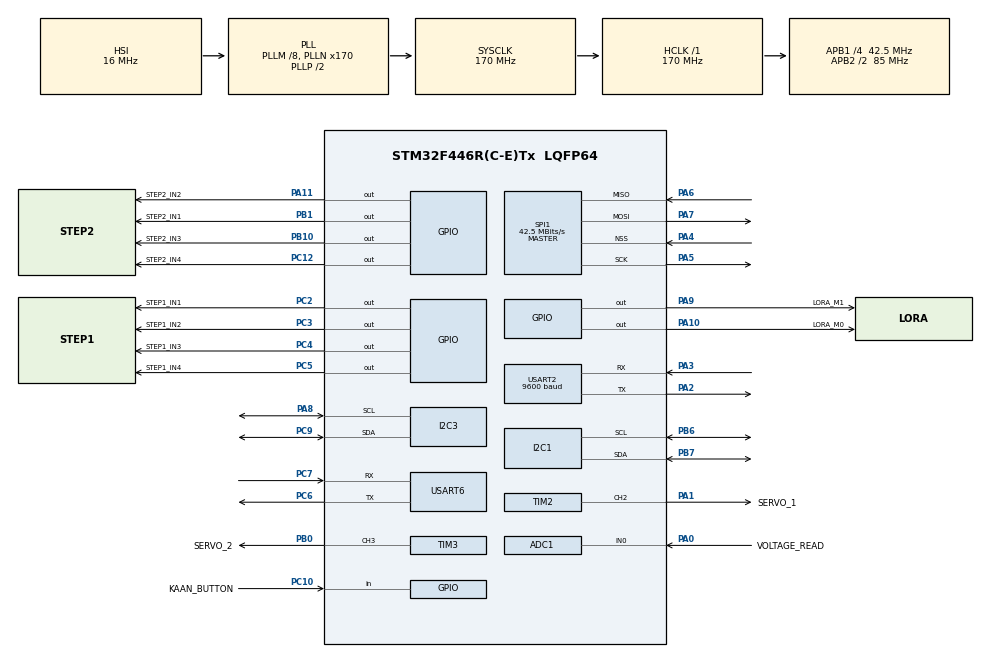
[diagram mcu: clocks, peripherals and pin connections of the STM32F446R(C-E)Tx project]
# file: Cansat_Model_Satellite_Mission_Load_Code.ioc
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ADC1.Channel-0\#ChannelRegularConversion=ADC_CHANNEL_0
ADC1.NbrOfConversionFlag=1
ADC1.Rank-0\#ChannelRegularConversion=1
ADC1.SamplingTime-0\#ChannelRegularConversion=ADC_SAMPLETIME_3CYCLES
ADC1.master=1
FREERTOS.Events01=systemEvents,Dynamic,NULL
FREERTOS.Mutexes01=sensorProcessMutex,Dynamic,NULL,Available;loraCommunicationMutex,Dynamic,NULL,Available
FREERTOS.Queues01=uart2incomingbuffer,16,uint16_t,0,Dynamic,NULL,NULL;uart2outcomequeue,16,uint16_t,0,Dynamic,NULL,NULL;gpsBufferQueue,3,uint16_t,0,Dynamic,NULL,NULL
FREERTOS.Tasks01=startingTask,24,128,StartDefaultTask,Default,NULL,Dynamic,NULL,NULL;bmpProcessTask,13,256,BMPProcessTaskCallback,Default,NULL,Dynamic,NULL,NULL;mpuProcessTask,14,256,MPUProcessTaskCallback,Default,NULL,Dynamic,NULL,NULL;sdWriteTask,21,256,SDWriteTaskCallback,Default,NULL,Dynamic,NULL,NULL;servoTask,24,128,ServoTaskCallback,Default,NULL,Dynamic,NULL,NULL;telecommandTask,40,256,TelecommandTask,Default,NULL,Dynamic,NULL,NULL;loraTask,46,256,LoraTaskCallback,Default,NULL,Dynamic,NULL,NULL;gpsProcess,8,256,GPSProcessCallback,Default,NULL,Dynamic,NULL,NULL;loraParse,44,256,LoraParseCallback,Default,NULL,Dynamic,NULL,NULL
FREERTOS.Timers01=loraWriteTimer,LoraWriteTimerCallBack,osTimerPeriodic,Default,NULL,Dynamic,NULL;velocityCalcTimer,VelocityCalculateTimerCallback,osTimerPeriodic,Default,NULL,Dynamic,NULL;seperationTimer,SeperationTimerCallback,osTimerOnce,Default,NULL,Dynamic,NULL
FREERTOS.configTIMER_TASK_PRIORITY=6
Mcu.Family=STM32F4
Mcu.Name=STM32F446R(C-E)Tx
Mcu.Package=LQFP64
NVIC.PriorityGroup=NVIC_PRIORITYGROUP_4
NVIC.TIM1_UP_TIM10_IRQn=true\:15\:0\:false\:false\:true\:false\:false\:true\:true
NVIC.TIM7_IRQn=true\:5\:0\:false\:false\:true\:true\:true\:true\:true
NVIC.TimeBase=TIM1_UP_TIM10_IRQn
NVIC.TimeBaseIP=TIM1
NVIC.USART2_IRQn=true\:5\:0\:false\:false\:true\:true\:true\:true\:true
PA0-WKUP.GPIO_Label=VOLTAGE_READ
PA0-WKUP.Signal=ADCx_IN0
PA1.GPIO_Label=SERVO_1
PA1.GPIO_PuPd=GPIO_PULLDOWN
PA1.Signal=S_TIM2_CH2
PA10.GPIO_Label=LORA_M0
PA10.GPIO_ModeDefaultOutputPP=GPIO_MODE_OUTPUT_PP
PA10.GPIO_PuPd=GPIO_PULLDOWN
PA10.GPIO_Speed=GPIO_SPEED_FREQ_MEDIUM
PA10.Signal=GPIO_Output
PA11.GPIO_Label=STEP2_IN2
PA11.Signal=GPIO_Output
PA13.Mode=Serial_Wire
PA13.Signal=SYS_JTMS-SWDIO
PA14.Mode=Serial_Wire
PA14.Signal=SYS_JTCK-SWCLK
PA2.GPIO_PuPd=GPIO_NOPULL
PA2.Mode=Asynchronous
PA2.Signal=USART2_TX
PA3.GPIO_PuPd=GPIO_NOPULL
PA3.Mode=Asynchronous
PA3.Signal=USART2_RX
PA4.Mode=NSS_Signal_Hard_Input
PA4.Signal=SPI1_NSS
PA5.Mode=Full_Duplex_Master
PA5.Signal=SPI1_SCK
PA6.Mode=Full_Duplex_Master
PA6.Signal=SPI1_MISO
PA7.Mode=Full_Duplex_Master
PA7.Signal=SPI1_MOSI
PA8.Mode=I2C
PA8.Signal=I2C3_SCL
PA9.GPIO_Label=LORA_M1
PA9.GPIO_PuPd=GPIO_PULLDOWN
PA9.GPIO_Speed=GPIO_SPEED_FREQ_MEDIUM
PA9.Signal=GPIO_Output
PB0.GPIO_Label=SERVO_2
PB0.GPIO_PuPd=GPIO_PULLDOWN
PB0.Signal=S_TIM3_CH3
PB1.GPIO_Label=STEP2_IN1
PB1.Signal=GPIO_Output
PB10.GPIO_Label=STEP2_IN3
PB10.Signal=GPIO_Output
PB6.Mode=I2C
PB6.Signal=I2C1_SCL
PB7.Mode=I2C
PB7.Signal=I2C1_SDA
PC10.GPIO_Label=KAAN_BUTTON
PC10.GPIO_PuPd=GPIO_PULLUP
PC10.Signal=GPIO_Input
PC12.GPIO_Label=STEP2_IN4
PC12.Signal=GPIO_Output
PC2.GPIO_Label=STEP1_IN1
PC2.Signal=GPIO_Output
PC3.GPIO_Label=STEP1_IN2
PC3.Signal=GPIO_Output
PC4.GPIO_Label=STEP1_IN3
PC4.Signal=GPIO_Output
PC5.GPIO_Label=STEP1_IN4
PC5.Signal=GPIO_Output
PC6.Mode=Asynchronous
PC6.Signal=USART6_TX
PC7.Mode=Asynchronous
PC7.Signal=USART6_RX
PC9.Mode=I2C
PC9.Signal=I2C3_SDA
ProjectManager.HeapSize=0x200
ProjectManager.StackSize=0x400
ProjectManager.TargetToolchain=STM32CubeIDE
RCC.AHBFreq_Value=170000000
RCC.APB1CLKDivider=RCC_HCLK_DIV4
RCC.APB1Freq_Value=42500000
RCC.APB1TimFreq_Value=85000000
RCC.APB2CLKDivider=RCC_HCLK_DIV2
RCC.APB2Freq_Value=85000000
RCC.APB2TimFreq_Value=170000000
RCC.CortexFreq_Value=170000000
RCC.HCLKFreq_Value=170000000
RCC.PLLM=8
RCC.PLLN=170
RCC.SYSCLKFreq_VALUE=170000000
RCC.SYSCLKSource=RCC_SYSCLKSOURCE_PLLCLK
RCC.USBFreq_Value=170000000
RCC.VCOOutputFreq_Value=340000000
SH.ADCx_IN0.0=ADC1_IN0,IN0
SH.S_TIM2_CH2.0=TIM2_CH2,PWM Generation2 CH2
SH.S_TIM3_CH3.0=TIM3_CH3,PWM Generation3 CH3
SPI1.CalculateBaudRate=42.5 MBits/s
SPI1.Direction=SPI_DIRECTION_2LINES
SPI1.Mode=SPI_MODE_MASTER
SPI1.VirtualNSS=VM_NSSHARD
SPI1.VirtualType=VM_MASTER
TIM2.Channel-PWM\ Generation2\ CH2=TIM_CHANNEL_2
TIM2.Period=20000 - 1
TIM2.Prescaler=85 - 1
TIM3.Channel-PWM\ Generation3\ CH3=TIM_CHANNEL_3
TIM3.Period=2000 - 1
TIM3.Prescaler=85 - 1
TIM6.Period=1000 - 1
TIM6.Prescaler=180 - 1
TIM6.TIM_MasterOutputTrigger=TIM_TRGO_RESET
TIM7.Period=1000 - 1
TIM7.Prescaler=170 - 1
TIM7.TIM_MasterOutputTrigger=TIM_TRGO_UPDATE
USART2.BaudRate=9600
USART2.VirtualMode=VM_ASYNC
USART6.VirtualMode=VM_ASYNC
VP_FREERTOS_VS_CMSIS_V2.Mode=CMSIS_V2
VP_SYS_VS_tim1.Mode=TIM1
VP_TIM2_VS_ClockSourceINT.Mode=Internal
VP_TIM3_VS_ClockSourceINT.Mode=Internal
VP_TIM6_VS_ClockSourceINT.Mode=Enable_Timer
VP_TIM7_VS_ClockSourceINT.Mode=Enable_Timer
board=custom

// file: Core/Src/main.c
/* USER CODE BEGIN Header */
/**
  ******************************************************************************
  * @file           : main.c
  * @brief          : Main program body
  ******************************************************************************
  * @attention
  *
  * Copyright (c) 2025 STMicroelectronics.
  * All rights reserved.
  *
  * This software is licensed under terms that can be found in the LICENSE file
  * in the root directory of this software component.
  * If no LICENSE file comes with this software, it is provided AS-IS.
  *
  ******************************************************************************
  */
/* USER CODE END Header */
#include "main.h"
#include "cmsis_os.h"

/* USER CODE BEGIN Includes */

#include "../Library/Pressure/bmp280.h"
#include "../Library/Acceleration/mpu6050.h"
#include "../Library/GPS/gps.h"
#include "../Library/Communication/lora_e22.h"
#include "../Library/Communication/telemetry_packet.h"
#include "../Library/Servo/servo.h"
#include "../Library/TeleCommand/telecommand.h"
#include "../Library/Utility/utiltity.h"

/* USER CODE END Includes */

/* USER CODE BEGIN PD */

/*
 *  Event Group Flags
 */
#define EVENT_FLAG_LORA_WRITE_READY    			(1 << 0U)
#define EVENT_FLAG_LORA_READ_READY     			(1 << 1U)
#define EVENT_FLAG_GPS_DATA_PROCECSS_READY      (1 << 2U)
#define EVENT_FLAG_TELECOMMAND_READY         	(1 << 3U)
#define EVENT_FLAG_TELECOMMAND_FINISHED       	(1 << 4U)

#define EVENT_FLAG_SERVO_PROCESS_READY        	(1 << 5U)
#define EVENT_FLAG_SENSOR_PROCESS_READY      	(1 << 6U)
#define EVENT_FLAG_SD_WRITE_READY         		(1 << 7U)
#define EVENT_FLAG_CALIBRATION_DONE             (1 << 8U)
#define EVENT_FLAG_SEPERATION_STARTED         	(1 << 9U)
#define EVENT_FLAG_SEPERATION_COMPLETED        	(1 << 10U)
#define EVENT_FLAG_FIRST_SEPERATION				(1 << 11U)

#define EVENT_FLAG_ALL_READY              		(0xFFFFFFFF)
#define EVENT_FLAG_NONE               			(0x00000000)
#define EVENT_FLAG_ERROR              			(1 << 31U)
#define EVENT_FLAG_TIMEOUT            			(1 << 30U)

/* USER CODE END PD */

ADC_HandleTypeDef hadc1;

I2C_HandleTypeDef hi2c1;
I2C_HandleTypeDef hi2c3;

SPI_HandleTypeDef hspi1;

TIM_HandleTypeDef htim2;
TIM_HandleTypeDef htim3;
TIM_HandleTypeDef htim6;
TIM_HandleTypeDef htim7;

UART_HandleTypeDef huart2;
UART_HandleTypeDef huart6;

/* Definitions for startingTask */
osThreadId_t startingTaskHandle;
const osThreadAttr_t startingTask_attributes = {
  .name = "startingTask",
  .stack_size = 128 * 4,
  .priority = (osPriority_t) osPriorityNormal,
};
/* Definitions for bmpProcessTask */
osThreadId_t bmpProcessTaskHandle;
const osThreadAttr_t bmpProcessTask_attributes = {
  .name = "bmpProcessTask",
  .stack_size = 256 * 4,
  .priority = (osPriority_t) osPriorityLow5,
};
/* Definitions for mpuProcessTask */
osThreadId_t mpuProcessTaskHandle;
const osThreadAttr_t mpuProcessTask_attributes = {
  .name = "mpuProcessTask",
  .stack_size = 256 * 4,
  .priority = (osPriority_t) osPriorityLow6,
};
/* Definitions for sdWriteTask */
osThreadId_t sdWriteTaskHandle;
const osThreadAttr_t sdWriteTask_attributes = {
  .name = "sdWriteTask",
  .stack_size = 256 * 4,
  .priority = (osPriority_t) osPriorityBelowNormal5,
};
/* Definitions for servoTask */
osThreadId_t servoTaskHandle;
const osThreadAttr_t servoTask_attributes = {
  .name = "servoTask",
  .stack_size = 128 * 4,
  .priority = (osPriority_t) osPriorityNormal,
};
/* Definitions for telecommandTask */
osThreadId_t telecommandTaskHandle;
const osThreadAttr_t telecommandTask_attributes = {
  .name = "telecommandTask",
  .stack_size = 512 * 4,
  .priority = (osPriority_t) osPriorityHigh,
};
/* Definitions for loraTask */
osThreadId_t loraTaskHandle;
const osThreadAttr_t loraTask_attributes = {
  .name = "loraTask",
  .stack_size = 512 * 4,
  .priority = (osPriority_t) osPriorityHigh6,
};
/* Definitions for gpsProcess */
osThreadId_t gpsProcessHandle;
const osThreadAttr_t gpsProcess_attributes = {
  .name = "gpsProcess",
  .stack_size = 256 * 4,
  .priority = (osPriority_t) osPriorityLow,
};
/* Definitions for seperationState */
osThreadId_t seperationStateHandle;
const osThreadAttr_t seperationState_attributes = {
  .name = "seperationState",
  .stack_size = 256 * 4,
  .priority = (osPriority_t) osPriorityHigh6,
};
/* Definitions for loraParse */
osThreadId_t loraParseHandle;
const osThreadAttr_t loraParse_attributes = {
  .name = "loraParse",
  .stack_size = 512 * 4,
  .priority = (osPriority_t) osPriorityHigh4,
};
/* Definitions for telecommandqueue */
osMessageQueueId_t telecommandqueueHandle;
const osMessageQueueAttr_t telecommandqueue_attributes = {
  .name = "telecommandqueue"
};
/* Definitions for uart2incomingbuffer */
osMessageQueueId_t uart2incomingbufferHandle;
const osMessageQueueAttr_t uart2incomingbuffer_attributes = {
  .name = "uart2incomingbuffer"
};
/* Definitions for uart2outcomequeue */
osMessageQueueId_t uart2outcomequeueHandle;
const osMessageQueueAttr_t uart2outcomequeue_attributes = {
  .name = "uart2outcomequeue"
};
/* Definitions for gpsBufferQueue */
osMessageQueueId_t gpsBufferQueueHandle;
const osMessageQueueAttr_t gpsBufferQueue_attributes = {
  .name = "gpsBufferQueue"
};
/* Definitions for loraWriteTimer */
osTimerId_t loraWriteTimerHandle;
const osTimerAttr_t loraWriteTimer_attributes = {
  .name = "loraWriteTimer"
};
/* Definitions for velocityCalcTimer */
osTimerId_t velocityCalcTimerHandle;
const osTimerAttr_t velocityCalcTimer_attributes = {
  .name = "velocityCalcTimer"
};
/* Definitions for seperationTimer */
osTimerId_t separationTimerHandle;
const osTimerAttr_t separationTimer_attributes = {
  .name = "separationTimer"
};
/* Definitions for sensorProcessMutex */
osMutexId_t sensorProcessMutexHandle;
const osMutexAttr_t sensorProcessMutex_attributes = {
  .name = "sensorProcessMutex"
};
/* Definitions for loraCommunicationMutex */
osMutexId_t loraCommunicationMutexHandle;
const osMutexAttr_t loraCommunicationMutex_attributes = {
  .name = "loraCommunicationMutex"
};
/* Definitions for systemEvents */
osEventFlagsId_t systemEventsHandle;
const osEventFlagsAttr_t systemEvents_attributes = {
  .name = "systemEvents"
};
/* USER CODE BEGIN PV */

GeneralControl_TypeDefInit controlStruct = {0};
BMP280_HandleTypedef bmp280;

//uint8_t pData[6] = {0xC0, 0x00, 0x03, 0x12, 0x34, 0x62};		//"selam1";
//uint8_t pDataRec[6];

/* USER CODE END PV */

void SystemClock_Config(void);
static void MX_GPIO_Init(void);
static void MX_ADC1_Init(void);
static void MX_I2C1_Init(void);
static void MX_TIM2_Init(void);
static void MX_TIM6_Init(void);
static void MX_I2C3_Init(void);
static void MX_SPI1_Init(void);
static void MX_TIM3_Init(void);
static void MX_USART6_UART_Init(void);
static void MX_USART2_UART_Init(void);
static void MX_TIM7_Init(void);
void StartDefaultTask(void *argument);
void BMPProcessTaskCallback(void *argument);
void MPUProcessTaskCallback(void *argument);
void SDWriteTaskCallback(void *argument);
void ServoTaskCallback(void *argument);
void TelecommandTask(void *argument);
void LoraTaskCallback(void *argument);
void GPSProcessCallback(void *argument);
void LoraParseCallback(void *argument);
void LoraWriteTimerCallBack(void *argument);
void VelocityCalculateTimerCallback(void *argument);
void SeparationTimerCallback(void *argument);
void SeperationStateCallback (void *argument);

/* USER CODE BEGIN PFP */

void BMP280Process(BMP280_TypeDefInit *bmpTypeDef);
void MPU6050Process(MPU6050_TypeDefInit *mpu);

void LoraWriteProcess(GeneralControl_TypeDefInit  *controlStruct);
void LoraReadProcess(uint8_t *rx_buffer, size_t buffer_size);

void GPSProcess(GeneralControl_TypeDefInit *controlStruct, char  *gps_buffer, size_t buffer_size);

void CalculateVelocityCallback(GeneralControl_TypeDefInit  *controlStruct);
void TelecommandProcess(void);

/* USER CODE END PFP */

/* USER CODE BEGIN 0 */

void HAL_GPIO_EXTI_Callback(uint16_t GPIO_Pin)
{
	if (GPIO_Pin == KAAN_BUTTON_Pin) {
		// Butona basıldığında yapılacak işlemler
		controlStruct.button.button_state = HAL_GPIO_ReadPin(KAAN_BUTTON_GPIO_Port, KAAN_BUTTON_Pin);

		if (controlStruct.button.button_state == GPIO_PIN_SET && controlStruct.button.button_last_state == GPIO_PIN_RESET) {
			// Buton serbest bırakıldıysa
			controlStruct.button.separation_state = 1; // Kilitli
			osEventFlagsSet(systemEventsHandle, EVENT_FLAG_SEPERATION_STARTED);
			//osTimerStart(separationTimerHandle, 2000); // 2 saniye sonra ayrılma tamamlandı olarak işaretle
		}

		controlStruct.button.button_last_state = controlStruct.button.button_state;
	}
}

void HAL_UART_RxCpltCallback(UART_HandleTypeDef *huart)
{

    if(huart == &huart6) {

        if(controlStruct.gps.rx_data != '\n' && controlStruct.gps.rx_index < sizeof(controlStruct.gps.rx_buffer) - 1) {
            controlStruct.gps.rx_buffer[controlStruct.gps.rx_index++] = controlStruct.gps.rx_data;
        } else {

        	controlStruct.gps.rx_buffer[controlStruct.gps.rx_index] = '\0';
        	osMessageQueuePut(gpsBufferQueueHandle, controlStruct.gps.rx_buffer, 0, 0);
        	osEventFlagsSet(systemEventsHandle, EVENT_FLAG_GPS_DATA_PROCECSS_READY);

            controlStruct.gps.rx_index = 0;
            controlStruct.gps.rx_data = 0;
        }
        HAL_UART_Receive_IT(&huart6, &controlStruct.gps.rx_data, 1);

    }
    if (huart == &huart2) {
    	if(controlStruct.uartData.rx_data != '\n' && controlStruct.uartData.rx_index < sizeof(controlStruct.uartData.rx_buffer) - 1)
			controlStruct.uartData.rx_buffer[controlStruct.uartData.rx_index++] = controlStruct.uartData.rx_data;
    	 else {

    		controlStruct.uartData.rx_buffer[controlStruct.uartData.rx_index] = '\0';
    		osMessageQueuePut(uart2incomingbufferHandle, controlStruct.uartData.rx_buffer, 0, 0);
			osEventFlagsSet(systemEventsHandle, EVENT_FLAG_LORA_READ_READY);

			controlStruct.uartData.rx_index = 0;
			controlStruct.uartData.rx_data = 0;
    	}
    	  HAL_UART_Receive_IT(&huart2,&controlStruct.uartData.rx_data, 1);
    }
}

void BMP280Process(BMP280_TypeDefInit *bmpTypeDef)
{
	osMutexAcquire(sensorProcessMutexHandle, osWaitForever);
	BME280_Calculate_Data(bmpTypeDef);
	osMutexRelease(sensorProcessMutexHandle);
}

void MPU6050Process(MPU6050_TypeDefInit *mpu)
{
	osMutexAcquire(sensorProcessMutexHandle, osWaitForever);
	mpu->AccX = MPU6050_Kalman_Accel_X();
	mpu->AccY = MPU6050_Kalman_Accel_Y();
	mpu->AccZ = MPU6050_Kalman_Accel_Z();
	mpu->GyroX = MPU6050_Kalman_Gyro_X();
	mpu->GyroY = MPU6050_Kalman_Gyro_Y();
	mpu->GyroZ = MPU6050_Kalman_Gyro_Z();
	mpu->RollAngle = MPU6050_Read_Roll_Angle();
	mpu->PitchAngle = MPU6050_Read_Pitch_Angle();
	mpu->YawAngle = MPU6050_Read_Yaw_Angle();
	osMutexRelease(sensorProcessMutexHandle);
}

void GPSProcess(GeneralControl_TypeDefInit *controlStruct, char  *gps_buffer, size_t buffer_size)
{
	lwgps_process(&controlStruct->gps.gps, gps_buffer, buffer_size);
	controlStruct->gps.Altitude = controlStruct->gps.gps.altitude;
	controlStruct->gps.Latitude = controlStruct->gps.gps.latitude;
	controlStruct->gps.Longitude = controlStruct->gps.gps.longitude;
	controlStruct->gps.Speed = controlStruct->gps.gps.speed;

}

void CalculateVelocityCallback(GeneralControl_TypeDefInit  *controlStruct)
{
	controlStruct->bmp.speed = (controlStruct->bmp.Altitude - controlStruct->bmp.previousAltitude) / 1.0f; // 1 saniyelik periyot varsayımı
	controlStruct->bmp.previousAltitude = controlStruct->bmp.Altitude;
}

float ReadOptimizedBatteryVoltage() {
    HAL_ADC_Start(&hadc1);
    if (HAL_ADC_PollForConversion(&hadc1, 100) == HAL_OK) {
        uint32_t adc_value = HAL_ADC_GetValue(&hadc1);
        HAL_ADC_Stop(&hadc1);

        float voltage = (adc_value * 3.3f) / 4095.0f;

        return voltage * 4.0f;
    }

    HAL_ADC_Stop(&hadc1);
    return 0.0f;
}

void LoraWriteProcess(GeneralControl_TypeDefInit  *controlStruct)
{

	static int package_counter = 0; // when variable is static in method, data keep inside ram during season hence, it will keep package counter data.
	controlStruct->telemetry_package.package_count = package_counter++;
	char error_state[7];
	memset(error_state,0,sizeof(error_state));

    CreateShortTimeString(controlStruct->telemetry_package.sending_time);

    controlStruct->telemetry_package.pressure1 = controlStruct->bmp.Pressure;
    controlStruct->telemetry_package.pressure2 = controlStruct->container.containerPressure;

    controlStruct->telemetry_package.altitude1 = controlStruct->bmp.Altitude;
    controlStruct->telemetry_package.altitude2 = controlStruct->container.containerAltitude;
    controlStruct->telemetry_package.diff_altitude = fabs(controlStruct->telemetry_package.altitude1 - controlStruct->telemetry_package.altitude2);

    controlStruct->telemetry_package.landing_speed = controlStruct->bmp.speed;
    controlStruct->telemetry_package.temperature = controlStruct->bmp.Temperature;

    osMutexAcquire(sensorProcessMutexHandle, osWaitForever);
    controlStruct->telemetry_package.battery_voltage = ReadOptimizedBatteryVoltage();
	osMutexRelease(sensorProcessMutexHandle);

	controlStruct->telemetry_package.gps1_latitude = controlStruct->gps.Latitude;
	controlStruct->telemetry_package.gps1_longitude = controlStruct->gps.Longitude;
	controlStruct->telemetry_package.gps1_altitude = controlStruct->gps.Altitude;

	controlStruct->telemetry_package.pitch = controlStruct->mpu.PitchAngle;
	controlStruct->telemetry_package.roll = controlStruct->mpu.RollAngle;
	controlStruct->telemetry_package.yaw = controlStruct->mpu.YawAngle;

    strcpy(controlStruct->telemetry_package.rhrh, "0000");
    controlStruct->telemetry_package.iot_s1_data = 25;
    controlStruct->telemetry_package.iot_s2_data = 25;
    controlStruct->telemetry_package.team_no = 655357;

    controlStruct->telemetry_package.satallite_status = UpdateOptimizedSatelliteStatus(&controlStruct->telemetry_package, controlStruct->bmp.previousAltitude);

    UpdateOptimizedErrorCode(&controlStruct->telemetry_package, controlStruct->telemetry_package.satallite_status, error_state);
    strncpy(controlStruct->telemetry_package.error_code, error_state,sizeof(controlStruct->telemetry_package.error_code) - 1);
    controlStruct->telemetry_package.error_code[6] = '\0';
    CreateBinaryTelemetryPacket(&controlStruct->binary_telemetry, &controlStruct->telemetry_package);

    memset(controlStruct->lora.TransmitPackage, 0, sizeof(controlStruct->lora.TransmitPackage));
    snprintf(controlStruct->lora.TransmitPackage,sizeof(controlStruct->lora.TransmitPackage),
        "S%lu,%u,%s,%s,%.1f,%.1f,%.1f,%.1f,%.1f,%.1f,%.1f,%.1f,%.1f,%.1f,%.1f,%.1f,%.1f,%.1f,%s,%.1f,%.1f,%luE",
		 controlStruct->telemetry_package.package_count,
		 controlStruct->telemetry_package.satallite_status,
		 controlStruct->telemetry_package.error_code,
		 controlStruct->telemetry_package.sending_time,
		 controlStruct->telemetry_package.pressure1/1000.0f,   // Pascal -> kPa dönüşümü (2 basamaklı)
		 controlStruct->telemetry_package.pressure2/1000.0f,   // Pascal -> kPa dönüşümü (2 basamaklı)
		 controlStruct->telemetry_package.altitude1,
		 controlStruct->telemetry_package.altitude2,
		 controlStruct->telemetry_package.diff_altitude,
		 controlStruct->telemetry_package.landing_speed,
		 controlStruct->telemetry_package.temperature,
		 controlStruct->telemetry_package.battery_voltage,
		 controlStruct->telemetry_package.gps1_latitude,
		 controlStruct->telemetry_package.gps1_longitude,
		 controlStruct->telemetry_package.gps1_altitude,
		 controlStruct->telemetry_package.pitch,
		 controlStruct->telemetry_package.roll,
		 controlStruct->telemetry_package.yaw,
		 controlStruct->telemetry_package.rhrh,
		 controlStruct->telemetry_package.iot_s1_data,
		 controlStruct->telemetry_package.iot_s2_data,
		 controlStruct->telemetry_package.team_no
    );
    controlStruct->lora.TransmitPackage[sizeof(controlStruct->lora.TransmitPackage)-1] = '\0';

    osStatus_t st = osMessageQueuePut(uart2outcomequeueHandle,
                                          &controlStruct->binary_telemetry, 0, 0);
        if (st == osErrorResource) {
            BinaryTelemetryPacket_t drop_oldest;
            (void)osMessageQueueGet(uart2outcomequeueHandle, &drop_oldest, NULL, 0); // en eskisini at
            (void)osMessageQueuePut(uart2outcomequeueHandle,
                                    &controlStruct->binary_telemetry, 0, 0);
        }

    osEventFlagsSet(systemEventsHandle, EVENT_FLAG_LORA_WRITE_READY);
}

void LoraReadProcess(uint8_t *rx_buffer, size_t buffer_size)
{

 uint16_t size = strnlen((char *)rx_buffer,buffer_size);
 uint8_t cmd_buffer[buffer_size];
 static char previous_cmd[6];
 strncpy((char*)cmd_buffer, (char*)rx_buffer, size);
 cmd_buffer [size - 1] = '\0';

 if(size < 10)
 {
	 if(cmd_buffer[0] == 'K' && cmd_buffer[1] == 'A')
	 {
		 osEventFlagsSet(systemEventsHandle, EVENT_FLAG_SERVO_PROCESS_READY);
		 osThreadYield();
	 }
	 else if (isalpha(cmd_buffer[0]) && isdigit(cmd_buffer[1]) && isalpha(cmd_buffer[2]) &&
			 isdigit(cmd_buffer[3]) && (cmd_buffer[4] == '\n' || cmd_buffer[4] == '\0'))
	 {

		 //Telecommand_Execute((char*)cmd_buffer);
		 strncpy((char *)previous_cmd,(char *)cmd_buffer,sizeof(previous_cmd) - 1);
		 previous_cmd[5] = '\0';
		 osMessageQueuePut(telecommandqueueHandle, previous_cmd, 0, 0);
		 osEventFlagsSet(systemEventsHandle, EVENT_FLAG_TELECOMMAND_READY);
		 osThreadYield();
	 }

 } else
 {
	 // TODO: Added other container and IOT devices datas and added to general control structure inside
 }
}

/* USER CODE END 0 */

int main(void)
{

  /* MCU Configuration--------------------------------------------------------*/

  /* Reset of all peripherals, Initializes the Flash interface and the Systick. */
  HAL_Init();

  /* USER CODE BEGIN Init */
  Lora_Filling(&controlStruct.loraAdress);
  controlStruct.telemetry_package.package_count = 1;
  /* USER CODE END Init */

  /* Configure the system clock */
  SystemClock_Config();

  /* Initialize all configured peripherals */
  MX_GPIO_Init();
  MX_ADC1_Init();
  MX_I2C1_Init();
  MX_TIM2_Init();
  MX_TIM6_Init();
  MX_I2C3_Init();
  MX_SPI1_Init();
  MX_TIM3_Init();
  MX_USART6_UART_Init();
  MX_USART2_UART_Init();
  MX_TIM7_Init();
  /* USER CODE BEGIN 2 */
  ServoInit();
  Lora_Init(&controlStruct.loraAdress); //Addresing
  lwgps_init(&controlStruct.gps.gps);
  HAL_UART_Receive_IT(&huart6, &controlStruct.gps.rx_data, 1);
  HAL_UART_Receive_IT(&huart2, &controlStruct.uartData.rx_data, 1);
  BME280_Init(&controlStruct.bmp);
  MPU6050_Init();
  Servo1SetAngle(0);
  Servo2SetAngle(0);

  //Telecommand_Execute(cmd);
   //HAL_Delay(4000);

  /* USER CODE END 2 */

  /* Init scheduler */
  osKernelInitialize();
  /* Create the mutex(es) */
  /* creation of sensorProcessMutex */
  sensorProcessMutexHandle = osMutexNew(&sensorProcessMutex_attributes);

  /* creation of loraCommunicationMutex */
  loraCommunicationMutexHandle = osMutexNew(&loraCommunicationMutex_attributes);

  /* Create the timer(s) */
  /* creation of loraWriteTimer */
  loraWriteTimerHandle = osTimerNew(LoraWriteTimerCallBack, osTimerPeriodic, &controlStruct, &loraWriteTimer_attributes);

  /* creation of velocityCalcTimer */
  velocityCalcTimerHandle = osTimerNew(VelocityCalculateTimerCallback, osTimerPeriodic, &controlStruct, &velocityCalcTimer_attributes);

  /* creation of seperationTimer */
  separationTimerHandle = osTimerNew(SeparationTimerCallback, osTimerOnce, &controlStruct, &separationTimer_attributes);

  /* Create the queue(s) */
  /* creation of uart2incomingbuffer */
  uart2incomingbufferHandle = osMessageQueueNew (16, sizeof(controlStruct.uartData.rx_buffer), &uart2incomingbuffer_attributes);

  /* creation of uart2outcomequeue */
  uart2outcomequeueHandle = osMessageQueueNew (1, sizeof(controlStruct.binary_telemetry), &uart2outcomequeue_attributes);

  /* creation of gpsBufferQueue */
  gpsBufferQueueHandle = osMessageQueueNew (3, sizeof(controlStruct.gps.rx_buffer), &gpsBufferQueue_attributes);

  /* USER CODE BEGIN RTOS_QUEUES */
  telecommandqueueHandle = osMessageQueueNew (1, sizeof(char [6]), &telecommandqueue_attributes);

  /* add queues, ... */
  /* USER CODE END RTOS_QUEUES */

  /* Create the thread(s) */
  /* creation of startingTask */
  startingTaskHandle = osThreadNew(StartDefaultTask, &controlStruct, &startingTask_attributes);

  /* creation of bmpProcessTask */
  bmpProcessTaskHandle = osThreadNew(BMPProcessTaskCallback, &controlStruct, &bmpProcessTask_attributes);

  /* creation of mpuProcessTask */
  mpuProcessTaskHandle = osThreadNew(MPUProcessTaskCallback, &controlStruct, &mpuProcessTask_attributes);

  /* creation of sdWriteTask */
  sdWriteTaskHandle = osThreadNew(SDWriteTaskCallback, &controlStruct, &sdWriteTask_attributes);

  /* creation of servoTask */
  servoTaskHandle = osThreadNew(ServoTaskCallback, &controlStruct, &servoTask_attributes);

  /* creation of telecommandTask */
  telecommandTaskHandle = osThreadNew(TelecommandTask, &controlStruct, &telecommandTask_attributes);

  /* creation of loraTask */
  loraTaskHandle = osThreadNew(LoraTaskCallback, &controlStruct, &loraTask_attributes);

  /* creation of gpsProcess */
  gpsProcessHandle = osThreadNew(GPSProcessCallback, &controlStruct, &gpsProcess_attributes);

  /* creation of loraParse */
  loraParseHandle = osThreadNew(LoraParseCallback, &controlStruct, &loraParse_attributes);

  /* creation of seperationState */
  seperationStateHandle = osThreadNew(SeperationStateCallback, &controlStruct, &seperationState_attributes);

  /* creation of systemEvents */
  systemEventsHandle = osEventFlagsNew(&systemEvents_attributes);

  /* Start scheduler */
  osKernelStart();

  /* We should never get here as control is now taken by the scheduler */

  /* Infinite loop */
  while (1)
  {
 //EMPTY
  }
}

void SystemClock_Config(void)
{
  RCC_OscInitTypeDef RCC_OscInitStruct = {0};
  RCC_ClkInitTypeDef RCC_ClkInitStruct = {0};

  /** Configure the main internal regulator output voltage
  */
  __HAL_RCC_PWR_CLK_ENABLE();
  __HAL_PWR_VOLTAGESCALING_CONFIG(PWR_REGULATOR_VOLTAGE_SCALE1);

  /** Initializes the RCC Oscillators according to the specified parameters
  * in the RCC_OscInitTypeDef structure.
  */
  RCC_OscInitStruct.OscillatorType = RCC_OSCILLATORTYPE_HSI;
  RCC_OscInitStruct.HSIState = RCC_HSI_ON;
  RCC_OscInitStruct.HSICalibrationValue = RCC_HSICALIBRATION_DEFAULT;
  RCC_OscInitStruct.PLL.PLLState = RCC_PLL_ON;
  RCC_OscInitStruct.PLL.PLLSource = RCC_PLLSOURCE_HSI;
  RCC_OscInitStruct.PLL.PLLM = 8;
  RCC_OscInitStruct.PLL.PLLN = 170;
  RCC_OscInitStruct.PLL.PLLP = RCC_PLLP_DIV2;
  RCC_OscInitStruct.PLL.PLLQ = 2;
  RCC_OscInitStruct.PLL.PLLR = 2;
  if (HAL_RCC_OscConfig(&RCC_OscInitStruct) != HAL_OK)
  {
    Error_Handler();
  }

  /** Activate the Over-Drive mode
  */
  if (HAL_PWREx_EnableOverDrive() != HAL_OK)
  {
    Error_Handler();
  }

  /** Initializes the CPU, AHB and APB buses clocks
  */
  RCC_ClkInitStruct.ClockType = RCC_CLOCKTYPE_HCLK|RCC_CLOCKTYPE_SYSCLK
                              |RCC_CLOCKTYPE_PCLK1|RCC_CLOCKTYPE_PCLK2;
  RCC_ClkInitStruct.SYSCLKSource = RCC_SYSCLKSOURCE_PLLCLK;
  RCC_ClkInitStruct.AHBCLKDivider = RCC_SYSCLK_DIV1;
  RCC_ClkInitStruct.APB1CLKDivider = RCC_HCLK_DIV4;
  RCC_ClkInitStruct.APB2CLKDivider = RCC_HCLK_DIV2;

  if (HAL_RCC_ClockConfig(&RCC_ClkInitStruct, FLASH_LATENCY_5) != HAL_OK)
  {
    Error_Handler();
  }
}

static void MX_ADC1_Init(void)
{

  ADC_ChannelConfTypeDef sConfig = {0};

  /** Configure the global features of the ADC (Clock, Resolution, Data Alignment and number of conversion)
  */
  hadc1.Instance = ADC1;
  hadc1.Init.ClockPrescaler = ADC_CLOCK_SYNC_PCLK_DIV4;
  hadc1.Init.Resolution = ADC_RESOLUTION_12B;
  hadc1.Init.ScanConvMode = DISABLE;
  hadc1.Init.ContinuousConvMode = DISABLE;
  hadc1.Init.DiscontinuousConvMode = DISABLE;
  hadc1.Init.ExternalTrigConvEdge = ADC_EXTERNALTRIGCONVEDGE_NONE;
  hadc1.Init.ExternalTrigConv = ADC_SOFTWARE_START;
  hadc1.Init.DataAlign = ADC_DATAALIGN_RIGHT;
  hadc1.Init.NbrOfConversion = 1;
  hadc1.Init.DMAContinuousRequests = DISABLE;
  hadc1.Init.EOCSelection = ADC_EOC_SINGLE_CONV;
  if (HAL_ADC_Init(&hadc1) != HAL_OK)
  {
    Error_Handler();
  }

  /** Configure for the selected ADC regular channel its corresponding rank in the sequencer and its sample time.
  */
  sConfig.Channel = ADC_CHANNEL_0;
  sConfig.Rank = 1;
  sConfig.SamplingTime = ADC_SAMPLETIME_3CYCLES;
  if (HAL_ADC_ConfigChannel(&hadc1, &sConfig) != HAL_OK)
  {
    Error_Handler();
  }

}

static void MX_I2C1_Init(void)
{

  hi2c1.Instance = I2C1;
  hi2c1.Init.ClockSpeed = 100000;
  hi2c1.Init.DutyCycle = I2C_DUTYCYCLE_2;
  hi2c1.Init.OwnAddress1 = 0;
  hi2c1.Init.AddressingMode = I2C_ADDRESSINGMODE_7BIT;
  hi2c1.Init.DualAddressMode = I2C_DUALADDRESS_DISABLE;
  hi2c1.Init.OwnAddress2 = 0;
  hi2c1.Init.GeneralCallMode = I2C_GENERALCALL_DISABLE;
  hi2c1.Init.NoStretchMode = I2C_NOSTRETCH_DISABLE;
  if (HAL_I2C_Init(&hi2c1) != HAL_OK)
  {
    Error_Handler();
  }

}

static void MX_I2C3_Init(void)
{

  hi2c3.Instance = I2C3;
  hi2c3.Init.ClockSpeed = 100000;
  hi2c3.Init.DutyCycle = I2C_DUTYCYCLE_2;
  hi2c3.Init.OwnAddress1 = 0;
  hi2c3.Init.AddressingMode = I2C_ADDRESSINGMODE_7BIT;
  hi2c3.Init.DualAddressMode = I2C_DUALADDRESS_DISABLE;
  hi2c3.Init.OwnAddress2 = 0;
  hi2c3.Init.GeneralCallMode = I2C_GENERALCALL_DISABLE;
  hi2c3.Init.NoStretchMode = I2C_NOSTRETCH_DISABLE;
  if (HAL_I2C_Init(&hi2c3) != HAL_OK)
  {
    Error_Handler();
  }

}

static void MX_SPI1_Init(void)
{

  /* SPI1 parameter configuration*/
  hspi1.Instance = SPI1;
  hspi1.Init.Mode = SPI_MODE_MASTER;
  hspi1.Init.Direction = SPI_DIRECTION_2LINES;
  hspi1.Init.DataSize = SPI_DATASIZE_8BIT;
  hspi1.Init.CLKPolarity = SPI_POLARITY_LOW;
  hspi1.Init.CLKPhase = SPI_PHASE_1EDGE;
  hspi1.Init.NSS = SPI_NSS_HARD_INPUT;
  hspi1.Init.BaudRatePrescaler = SPI_BAUDRATEPRESCALER_2;
  hspi1.Init.FirstBit = SPI_FIRSTBIT_MSB;
  hspi1.Init.TIMode = SPI_TIMODE_DISABLE;
  hspi1.Init.CRCCalculation = SPI_CRCCALCULATION_DISABLE;
  hspi1.Init.CRCPolynomial = 10;
  if (HAL_SPI_Init(&hspi1) != HAL_OK)
  {
    Error_Handler();
  }

}

static void MX_TIM2_Init(void)
{

  TIM_ClockConfigTypeDef sClockSourceConfig = {0};
  TIM_MasterConfigTypeDef sMasterConfig = {0};
  TIM_OC_InitTypeDef sConfigOC = {0};

  htim2.Instance = TIM2;
  htim2.Init.Prescaler = 85 - 1;
  htim2.Init.CounterMode = TIM_COUNTERMODE_UP;
  htim2.Init.Period = 20000 - 1;
  htim2.Init.ClockDivision = TIM_CLOCKDIVISION_DIV1;
  htim2.Init.AutoReloadPreload = TIM_AUTORELOAD_PRELOAD_DISABLE;
  if (HAL_TIM_Base_Init(&htim2) != HAL_OK)
  {
    Error_Handler();
  }
  sClockSourceConfig.ClockSource = TIM_CLOCKSOURCE_INTERNAL;
  if (HAL_TIM_ConfigClockSource(&htim2, &sClockSourceConfig) != HAL_OK)
  {
    Error_Handler();
  }
  if (HAL_TIM_PWM_Init(&htim2) != HAL_OK)
  {
    Error_Handler();
  }
  sMasterConfig.MasterOutputTrigger = TIM_TRGO_RESET;
  sMasterConfig.MasterSlaveMode = TIM_MASTERSLAVEMODE_DISABLE;
  if (HAL_TIMEx_MasterConfigSynchronization(&htim2, &sMasterConfig) != HAL_OK)
  {
    Error_Handler();
  }
  sConfigOC.OCMode = TIM_OCMODE_PWM1;
  sConfigOC.Pulse = 0;
  sConfigOC.OCPolarity = TIM_OCPOLARITY_HIGH;
  sConfigOC.OCFastMode = TIM_OCFAST_DISABLE;
  if (HAL_TIM_PWM_ConfigChannel(&htim2, &sConfigOC, TIM_CHANNEL_2) != HAL_OK)
  {
    Error_Handler();
  }
  HAL_TIM_MspPostInit(&htim2);

}

static void MX_TIM3_Init(void)
{

  TIM_ClockConfigTypeDef sClockSourceConfig = {0};
  TIM_MasterConfigTypeDef sMasterConfig = {0};
  TIM_OC_InitTypeDef sConfigOC = {0};

  htim3.Instance = TIM3;
  htim3.Init.Prescaler = 85 - 1;
  htim3.Init.CounterMode = TIM_COUNTERMODE_UP;
  htim3.Init.Period = 2000 - 1;
  htim3.Init.ClockDivision = TIM_CLOCKDIVISION_DIV1;
  htim3.Init.AutoReloadPreload = TIM_AUTORELOAD_PRELOAD_DISABLE;
  if (HAL_TIM_Base_Init(&htim3) != HAL_OK)
  {
    Error_Handler();
  }
  sClockSourceConfig.ClockSource = TIM_CLOCKSOURCE_INTERNAL;
  if (HAL_TIM_ConfigClockSource(&htim3, &sClockSourceConfig) != HAL_OK)
  {
    Error_Handler();
  }
  if (HAL_TIM_PWM_Init(&htim3) != HAL_OK)
  {
    Error_Handler();
  }
  sMasterConfig.MasterOutputTrigger = TIM_TRGO_RESET;
  sMasterConfig.MasterSlaveMode = TIM_MASTERSLAVEMODE_DISABLE;
  if (HAL_TIMEx_MasterConfigSynchronization(&htim3, &sMasterConfig) != HAL_OK)
  {
    Error_Handler();
  }
  sConfigOC.OCMode = TIM_OCMODE_PWM1;
  sConfigOC.Pulse = 0;
  sConfigOC.OCPolarity = TIM_OCPOLARITY_HIGH;
  sConfigOC.OCFastMode = TIM_OCFAST_DISABLE;
  if (HAL_TIM_PWM_ConfigChannel(&htim3, &sConfigOC, TIM_CHANNEL_3) != HAL_OK)
  {
    Error_Handler();
  }
  HAL_TIM_MspPostInit(&htim3);

}

static void MX_TIM6_Init(void)
{

  TIM_MasterConfigTypeDef sMasterConfig = {0};

  htim6.Instance = TIM6;
  htim6.Init.Prescaler = 180 - 1;
  htim6.Init.CounterMode = TIM_COUNTERMODE_UP;
  htim6.Init.Period = 1000 - 1;
  htim6.Init.AutoReloadPreload = TIM_AUTORELOAD_PRELOAD_DISABLE;
  if (HAL_TIM_Base_Init(&htim6) != HAL_OK)
  {
    Error_Handler();
  }
  sMasterConfig.MasterOutputTrigger = TIM_TRGO_RESET;
  sMasterConfig.MasterSlaveMode = TIM_MASTERSLAVEMODE_DISABLE;
  if (HAL_TIMEx_MasterConfigSynchronization(&htim6, &sMasterConfig) != HAL_OK)
  {
    Error_Handler();
  }

}

static void MX_TIM7_Init(void)
{

  TIM_MasterConfigTypeDef sMasterConfig = {0};

  htim7.Instance = TIM7;
  htim7.Init.Prescaler = 170 - 1;
  htim7.Init.CounterMode = TIM_COUNTERMODE_UP;
  htim7.Init.Period = 1000 - 1;
  htim7.Init.AutoReloadPreload = TIM_AUTORELOAD_PRELOAD_DISABLE;
  if (HAL_TIM_Base_Init(&htim7) != HAL_OK)
  {
    Error_Handler();
  }
  sMasterConfig.MasterOutputTrigger = TIM_TRGO_UPDATE;
  sMasterConfig.MasterSlaveMode = TIM_MASTERSLAVEMODE_DISABLE;
  if (HAL_TIMEx_MasterConfigSynchronization(&htim7, &sMasterConfig) != HAL_OK)
  {
    Error_Handler();
  }

}

static void MX_USART2_UART_Init(void)
{

  huart2.Instance = USART2;
  huart2.Init.BaudRate = 9600;
  huart2.Init.WordLength = UART_WORDLENGTH_8B;
  huart2.Init.StopBits = UART_STOPBITS_1;
  huart2.Init.Parity = UART_PARITY_NONE;
  huart2.Init.Mode = UART_MODE_TX_RX;
  huart2.Init.HwFlowCtl = UART_HWCONTROL_NONE;
  huart2.Init.OverSampling = UART_OVERSAMPLING_16;
  if (HAL_UART_Init(&huart2) != HAL_OK)
  {
    Error_Handler();
  }

}

static void MX_USART6_UART_Init(void)
{

  huart6.Instance = USART6;
  huart6.Init.BaudRate = 115200;
  huart6.Init.WordLength = UART_WORDLENGTH_8B;
  huart6.Init.StopBits = UART_STOPBITS_1;
  huart6.Init.Parity = UART_PARITY_NONE;
  huart6.Init.Mode = UART_MODE_TX_RX;
  huart6.Init.HwFlowCtl = UART_HWCONTROL_NONE;
  huart6.Init.OverSampling = UART_OVERSAMPLING_16;
  if (HAL_UART_Init(&huart6) != HAL_OK)
  {
    Error_Handler();
  }

}

static void MX_GPIO_Init(void)
{
  GPIO_InitTypeDef GPIO_InitStruct = {0};

  /* GPIO Ports Clock Enable */
  __HAL_RCC_GPIOC_CLK_ENABLE();
  __HAL_RCC_GPIOA_CLK_ENABLE();
  __HAL_RCC_GPIOB_CLK_ENABLE();

  /*Configure GPIO pin Output Level */
  HAL_GPIO_WritePin(GPIOC, STEP1_IN1_Pin|STEP1_IN2_Pin|STEP1_IN3_Pin|STEP1_IN4_Pin
                          |STEP2_IN4_Pin, GPIO_PIN_RESET);

  /*Configure GPIO pin Output Level */
  HAL_GPIO_WritePin(GPIOB, STEP2_IN1_Pin|STEP2_IN3_Pin, GPIO_PIN_RESET);

  /*Configure GPIO pin Output Level */
  HAL_GPIO_WritePin(GPIOA, LORA_M1_Pin|LORA_M0_Pin|STEP2_IN2_Pin, GPIO_PIN_RESET);

  /*Configure GPIO pins : STEP1_IN1_Pin STEP1_IN2_Pin STEP1_IN3_Pin STEP1_IN4_Pin
                           STEP2_IN4_Pin */
  GPIO_InitStruct.Pin = STEP1_IN1_Pin|STEP1_IN2_Pin|STEP1_IN3_Pin|STEP1_IN4_Pin
                          |STEP2_IN4_Pin;
  GPIO_InitStruct.Mode = GPIO_MODE_OUTPUT_PP;
  GPIO_InitStruct.Pull = GPIO_NOPULL;
  GPIO_InitStruct.Speed = GPIO_SPEED_FREQ_LOW;
  HAL_GPIO_Init(GPIOC, &GPIO_InitStruct);

  /*Configure GPIO pins : STEP2_IN1_Pin STEP2_IN3_Pin */
  GPIO_InitStruct.Pin = STEP2_IN1_Pin|STEP2_IN3_Pin;
  GPIO_InitStruct.Mode = GPIO_MODE_OUTPUT_PP;
  GPIO_InitStruct.Pull = GPIO_NOPULL;
  GPIO_InitStruct.Speed = GPIO_SPEED_FREQ_LOW;
  HAL_GPIO_Init(GPIOB, &GPIO_InitStruct);

  /*Configure GPIO pins : LORA_M1_Pin LORA_M0_Pin */
  GPIO_InitStruct.Pin = LORA_M1_Pin|LORA_M0_Pin;
  GPIO_InitStruct.Mode = GPIO_MODE_OUTPUT_PP;
  GPIO_InitStruct.Pull = GPIO_PULLDOWN;
  GPIO_InitStruct.Speed = GPIO_SPEED_FREQ_MEDIUM;
  HAL_GPIO_Init(GPIOA, &GPIO_InitStruct);

  /*Configure GPIO pin : STEP2_IN2_Pin */
  GPIO_InitStruct.Pin = STEP2_IN2_Pin;
  GPIO_InitStruct.Mode = GPIO_MODE_OUTPUT_PP;
  GPIO_InitStruct.Pull = GPIO_NOPULL;
  GPIO_InitStruct.Speed = GPIO_SPEED_FREQ_LOW;
  HAL_GPIO_Init(STEP2_IN2_GPIO_Port, &GPIO_InitStruct);

  /*Configure GPIO pin : KAAN_BUTTON_Pin */
  GPIO_InitStruct.Pin = KAAN_BUTTON_Pin;
  GPIO_InitStruct.Mode = GPIO_MODE_IT_RISING;
  GPIO_InitStruct.Pull = GPIO_PULLUP;
  HAL_GPIO_Init(KAAN_BUTTON_GPIO_Port, &GPIO_InitStruct);

  /* USER CODE BEGIN MX_GPIO_Init_2 */
  HAL_NVIC_SetPriority(EXTI15_10_IRQn, 5, 0);
  HAL_NVIC_EnableIRQ(EXTI15_10_IRQn);

  /* USER CODE END MX_GPIO_Init_2 */
}

void StartDefaultTask(void *argument)
{
  /* USER CODE BEGIN 5 */

	osDelay(200);
	osMutexAcquire(sensorProcessMutexHandle, osWaitForever);
	GeneralControl_TypeDefInit *controlStruct = (GeneralControl_TypeDefInit *)argument;
	BME280_Calculate_Data(&controlStruct->bmp);
	controlStruct->bmp.previousAltitude = controlStruct->bmp.Altitude;
	osMutexRelease(sensorProcessMutexHandle);
	osTimerStart(loraWriteTimerHandle, 1000);
	osTimerStart(velocityCalcTimerHandle, 1000);

  /* Infinite loop */
	while(1)
	{
	 osDelay(1);
	};
  /* USER CODE END 5 */
}

void BMPProcessTaskCallback(void *argument)
{
  /* USER CODE BEGIN BMPProcessTaskCallback */

	GeneralControl_TypeDefInit *controlStruct = (GeneralControl_TypeDefInit *)argument;
  /* Infinite loop */
  for(;;)
  {
	BMP280Process(&controlStruct->bmp);
    osDelay(10);
  }
  /* USER CODE END BMPProcessTaskCallback */
}

void MPUProcessTaskCallback(void *argument)
{
  /* USER CODE BEGIN MPUProcessTaskCallback */
	GeneralControl_TypeDefInit *controlStruct = (GeneralControl_TypeDefInit *)argument;
  /* Infinite loop */
  while(1)
  {
	MPU6050Process(&controlStruct->mpu);
	osDelay(10);
  }
  /* USER CODE END MPUProcessTaskCallback */
}

void SDWriteTaskCallback(void *argument)
{
  for(;;)
  {
    osDelay(1);
  }
}

void ServoTaskCallback(void *argument)
{
  /* USER CODE BEGIN ServoTaskCallback */
	//GeneralControl_TypeDefInit *controlStruct = (GeneralControl_TypeDefInit *)argument;
	uint32_t remoteSepFlags = 0;
	uint32_t algorithmSepFlags = 0;

  /* Infinite loop */
  while(1)
  {
	  remoteSepFlags = osEventFlagsWait(systemEventsHandle, EVENT_FLAG_SEPERATION_STARTED, osFlagsNoClear | osFlagsWaitAny, osWaitForever);
	  algorithmSepFlags = osEventFlagsWait(systemEventsHandle, EVENT_FLAG_FIRST_SEPERATION, osFlagsNoClear | osFlagsWaitAny, osWaitForever);

	  if((remoteSepFlags & EVENT_FLAG_SEPERATION_STARTED) || (algorithmSepFlags & EVENT_FLAG_FIRST_SEPERATION))
	  {
		  osEventFlagsClear(systemEventsHandle, EVENT_FLAG_SEPERATION_STARTED);
		  osEventFlagsClear(systemEventsHandle, EVENT_FLAG_FIRST_SEPERATION);
		  osTimerStart(separationTimerHandle,50);
	  }

    osDelay(10);
  }
  /* USER CODE END ServoTaskCallback */
}

void TelecommandTask(void *argument)
{
  /* USER CODE BEGIN TelecommandTask */

	uint32_t flags;
	static char tlc_com[6];
  /* Infinite loop */
  while(1)
  {
	  flags = osEventFlagsWait(systemEventsHandle, EVENT_FLAG_TELECOMMAND_READY, osFlagsNoClear| osFlagsWaitAny, osWaitForever);
	  if(flags & EVENT_FLAG_TELECOMMAND_READY)
	  {
		  osEventFlagsClear(systemEventsHandle, EVENT_FLAG_TELECOMMAND_READY);
		  if(osMessageQueueGet(telecommandqueueHandle, tlc_com, NULL, 0) == osOK)
		  {
			  Telecommand_Execute((char*)tlc_com);
		  }
	  }
    osDelay(1);
  }
  /* USER CODE END TelecommandTask */
}

void LoraTaskCallback(void *argument)
{
  /* USER CODE BEGIN LoraTaskCallback */

	GeneralControl_TypeDefInit *controlStruct = (GeneralControl_TypeDefInit *)argument;

  /* Infinite loop */
  while(1)
  {
	LoraWriteProcess(controlStruct);
    osDelay(10);
  }
  /* USER CODE END LoraTaskCallback */
}

void GPSProcessCallback(void *argument)
{
  /* USER CODE BEGIN GPSProcessCallback */

	GeneralControl_TypeDefInit *controlStruct = (GeneralControl_TypeDefInit *)argument;
	static uint32_t flags = 0;
	char gps_buffer[128];
  /* Infinite loop */
	while(1)
	{
		flags = osEventFlagsWait(systemEventsHandle, EVENT_FLAG_GPS_DATA_PROCECSS_READY, osFlagsWaitAny | osFlagsNoClear, osWaitForever);

		if(flags & EVENT_FLAG_GPS_DATA_PROCECSS_READY) // bit kontrolü
		{
			osEventFlagsClear(systemEventsHandle, EVENT_FLAG_GPS_DATA_PROCECSS_READY);

			if(osMessageQueueGet(gpsBufferQueueHandle, gps_buffer, NULL, 0) == osOK)
			{
				GPSProcess(controlStruct, gps_buffer,strlen(gps_buffer));
			}

		}

		osDelay(5);
  }
  /* USER CODE END GPSProcessCallback */
}

void LoraParseCallback(void *argument)
{
  /* USER CODE BEGIN LoraParseCallback */

	static uint32_t flags;
	uint8_t rx_buffer[100];

  /* Infinite loop */
  while(1)
  {

	  flags = osEventFlagsWait(systemEventsHandle, EVENT_FLAG_LORA_READ_READY, osFlagsNoClear | osFlagsWaitAny, osWaitForever);

	  if(flags & EVENT_FLAG_LORA_READ_READY)
	  	{
		  osEventFlagsClear(systemEventsHandle, EVENT_FLAG_LORA_READ_READY);
	  		if(osMessageQueueGet(uart2incomingbufferHandle, rx_buffer, NULL, 0) == osOK)
	  		{
	  			LoraReadProcess(rx_buffer, sizeof(rx_buffer));
	  		}
	  	}
    osThreadYield();
  }
  /* USER CODE END LoraParseCallback */
}

/* USER CODE BEGIN Header_LoraParseCallback */
/* USER CODE END Header_SeperationStateCallback */
void SeperationStateCallback(void *argument)
{
  /* USER CODE BEGIN SeperationStateCallback */

	GeneralControl_TypeDefInit *constrolStruct  = (GeneralControl_TypeDefInit *) argument;
	static uint16_t maxAltFlag = 0;
	static float maxAlt = 0.0f;

  /* Infinite loop */
  while(1)
  {

	if(constrolStruct->bmp.Altitude > maxAlt)
		maxAlt = constrolStruct->bmp.Altitude;
	else if(constrolStruct->bmp.Altitude < maxAlt)
		maxAltFlag = 1;

	if((constrolStruct->bmp.Altitude < 700.0f || constrolStruct->mpu.AccZ < 10.0f) && maxAltFlag)
	{
		osEventFlagsSet(systemEventsHandle, EVENT_FLAG_FIRST_SEPERATION);
		maxAltFlag = 0;
		osThreadExit();
	}

	osDelay(1);

  }
  /* USER CODE END SeperationStateCallback */
}

/* LoraWriteTimerCallBack function */
void LoraWriteTimerCallBack(void *argument)
{
  /* USER CODE BEGIN LoraWriteTimerCallBack */
	GeneralControl_TypeDefInit *controlStruct = (GeneralControl_TypeDefInit *)argument;
	static BinaryTelemetryPacket_t binary_telemetry;

	if(osMessageQueueGet(uart2outcomequeueHandle,&binary_telemetry, NULL, 0) == osOK)
	{
		osMutexAcquire(loraCommunicationMutexHandle, osWaitForever);
		Lora_Transmiter(&controlStruct->loraAdress, (uint8_t *)&binary_telemetry, sizeof(binary_telemetry));
		osMutexRelease(loraCommunicationMutexHandle);
	}

  /* USER CODE END LoraWriteTimerCallBack */
}

/* VelocityCalculateTimerCallback function */
void VelocityCalculateTimerCallback(void *argument)
{
  /* USER CODE BEGIN VelocityCalculateTimerCallback */
	GeneralControl_TypeDefInit *controlStruct = (GeneralControl_TypeDefInit *)argument;
	CalculateVelocityCallback(controlStruct);
  /* USER CODE END VelocityCalculateTimerCallback */
}

/* SeperationTimerCallback function */
void SeparationTimerCallback(void *argument)
{
  /* USER CODE BEGIN SeperationTimerCallback */
	Servo1SetAngle(0);
	Servo2SetAngle(0);
	osEventFlagsSet(systemEventsHandle,EVENT_FLAG_SEPERATION_COMPLETED);
  /* USER CODE END SeperationTimerCallback */
}

void HAL_TIM_PeriodElapsedCallback(TIM_HandleTypeDef *htim)
{
  if (htim->Instance == TIM1)
  {
    HAL_IncTick();
  }
}

void Error_Handler(void)
{
  __disable_irq();
  while (1)
  {
  }
}
